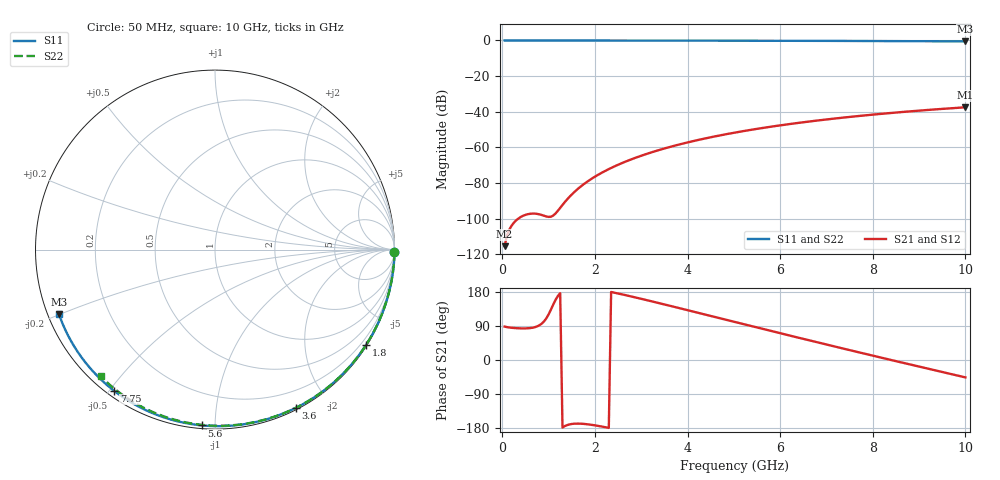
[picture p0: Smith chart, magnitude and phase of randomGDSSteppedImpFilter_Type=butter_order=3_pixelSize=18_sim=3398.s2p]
! freq	dB(S11)	phase(S11)	dB(S12)	phase(S12)
!  dB(S21)	phase(S21)	dB(S22)	phase(S22)
!S-par simulation data
#  GHz  S  DB  R 50
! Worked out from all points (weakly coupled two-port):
!   200 points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, 50 MHz to 10 GHz, reference 50 ohm
!   highest |S21| = -37.53 dB at 10 GHz (marker M1); lowest = -115.5 dB at 50 MHz (marker M2)
!   lowest |S11| = -0.5 dB at 10 GHz (marker M3), VSWR 32.86, Z = 1.58 - j9.94 ohm
!   |S11| at or under -10 dB: nowhere
!   |S22| runs from -0.4 to 0.0 dB; largest |S21 - S12| = 0
!   S11 on the Smith chart (normalised r, x): 50 MHz: open; 1.8 GHz: 0.03, -3.45; 3.6 GHz: 0.02, -1.64; 5.6 GHz: 0.02, -0.93; 7.75 GHz: 0.02, -0.51; 10 GHz: 0.03, -0.20
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0.05  -0.00 -0.9  -115.49 88.2  -115.49 88.2  -0.00 -0.8
0.45  -0.01 -8.2  -98.42 83.3  -98.42 83.3  -0.01 -6.9
0.9  -0.02 -16.3  -98.40 101.7  -98.40 101.7  -0.02 -13.7
1.3  -0.03 -23.5  -92.33 -178.2  -92.33 -178.2  -0.02 -19.6
1.75  -0.04 -31.4  -80.87 -168.5  -80.87 -168.5  -0.03 -26.3
1.8  -0.04 -32.3  -79.91 -169.1  -79.91 -169.1  -0.03 -27.0
1.95  -0.04 -34.9  -77.29 -171.5  -77.29 -171.5  -0.04 -29.3
2.1  -0.05 -37.5  -74.96 -174.5  -74.96 -174.5  -0.04 -31.5
2.3  -0.05 -41.0  -72.22 -179.2  -72.22 -179.2  -0.04 -34.4
2.5  -0.06 -44.4  -69.79 175.6  -69.79 175.6  -0.05 -37.3
2.9  -0.07 -51.3  -65.64 164.4  -65.64 164.4  -0.06 -43.0
3.4  -0.08 -59.6  -61.40 149.7  -61.40 149.7  -0.07 -50.1
3.6  -0.08 -62.9  -59.92 143.7  -59.92 143.7  -0.07 -52.9
4.3  -0.11 -74.2  -55.46 122.4  -55.46 122.4  -0.09 -62.5
5.05  -0.13 -85.9  -51.60 99.5  -51.60 99.5  -0.11 -72.5
5.6  -0.16 -94.3  -49.22 82.8  -49.22 82.8  -0.13 -79.6
6.15  -0.18 -102.5  -47.12 66.2  -47.12 66.2  -0.15 -86.6
6.7  -0.22 -110.5  -45.27 49.8  -45.27 49.8  -0.18 -93.4
7.75  -0.29 -125.5  -42.27 18.8  -42.27 18.8  -0.24 -106.0
8.35  -0.34 -134.0  -40.81 1.3  -40.81 1.3  -0.29 -113.1
9.2  -0.43 -146.0  -38.99 -23.1  -38.99 -23.1  -0.36 -122.9
10  -0.53 -157.5  -37.53 -45.9  -37.53 -45.9  -0.44 -131.9
